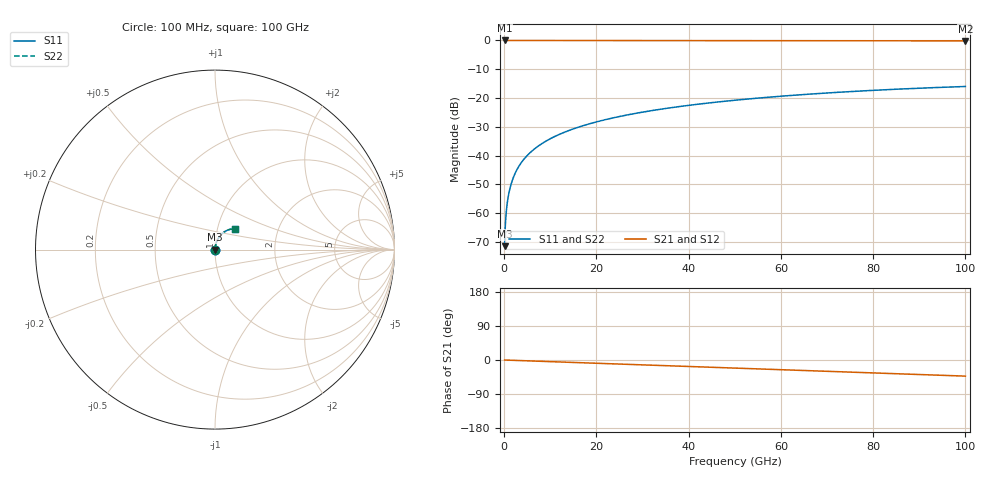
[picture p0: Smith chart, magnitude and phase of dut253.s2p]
! Touchstone file exported from HFSS 2026.1.0
!  File:  C:/ffzhzh/LocalFiles/Ansys_Project_Files/temp_train_TSV_253_1783508381_44152.aedt
!  Generated:  07:00:56 PM Jul  8, 2026
!  Design:  TSV
!  Project:  temp_train_TSV_253_1783508381_44152
! Variables:
!  h_bsmrdl = 2um
!  h_ox = 20um
!  h_rdl = 5um
!  h_sub = 79.96um
!  h_tmrdl = 5um
!  h_tsv = 79.96um
!  h_via = 3um
!  l_bsmrdl = 300um
!  l_sub = 419.48um
!  l_tmrdl = 200um
!  m_sub = 200um
!  pitch = 53.94um
!  r_tsv = 9.74um
!  s_tmrdl = 10um
!  w_bsmrdl = 18um
!  w_sub = 500um
!  w_tmrdl = 12um
!  x_tsv_center1 = 206um
!  x_tsv_center2 = 524um
!  x_tsv_center3 = 736um
!  x_tsv_center4 = 1054um
!  x_tsv_center5 = 1266um
!  x_tsv_center6 = 1584um
# GHz S MA R 50.000000
! Terminal data exported
! Port[1] = TSV1_1_T1
! Port[2] = TSV1_1_T2
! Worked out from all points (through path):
!   1000 points, 100 MHz to 100 GHz, reference 50 ohm
!   highest |S21| = 0.00 dB at 100 MHz (marker M1); lowest = -0.1 dB at 100 GHz (marker M2)
!   group delay of S21, straight-line fit = 1.18 ps
!   lowest |S11| = -71.5 dB at 100 MHz (marker M3), VSWR 1.00, Z = 50 + j0.0234 ohm
!   |S11| at or under -10 dB: start of sweep to end of sweep
!   |S22| runs from -71.5 to -16.0 dB; largest |S21 - S12| = 5e-15
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0.1  0.0002674 61.0  0.9999 -0.0  0.9999 -0.0  0.0002674 61.0
! Gamma 0 0 0 0
! Port Impedance 50 0 50 0
0.3  0.0007081 77.0  0.9998 -0.1  0.9998 -0.1  0.0007081 77.0
0.7  0.00156 81.0  0.9998 -0.3  0.9998 -0.3  0.00156 81.0
0.8  0.001766 81.4  0.9997 -0.4  0.9997 -0.4  0.001766 81.4
1  0.002172 82.1  0.9997 -0.4  0.9997 -0.4  0.002172 82.1
1.3  0.002776 82.8  0.9997 -0.6  0.9997 -0.6  0.002776 82.8
1.7  0.003575 83.4  0.9996 -0.7  0.9996 -0.7  0.003575 83.4
2.3  0.004766 83.9  0.9996 -1.0  0.9996 -1.0  0.004766 83.9
3  0.006142 84.1  0.9995 -1.3  0.9995 -1.3  0.006142 84.1
3.8  0.007704 84.2  0.9994 -1.7  0.9994 -1.7  0.007704 84.2
4.8  0.009644 84.2  0.9993 -2.1  0.9993 -2.1  0.009644 84.2
6  0.01196 84.1  0.9992 -2.6  0.9992 -2.6  0.01196 84.1
8.8  0.01734 83.4  0.999 -3.8  0.999 -3.8  0.01734 83.4
12.4  0.0242 82.3  0.9987 -5.4  0.9987 -5.4  0.0242 82.3
16.8  0.03251 80.7  0.9983 -7.2  0.9983 -7.2  0.03251 80.7
24.2  0.04628 77.9  0.9975 -10.4  0.9975 -10.4  0.04628 77.9
33.4  0.06299 74.2  0.9964 -14.3  0.9964 -14.3  0.06299 74.2
41.2  0.0767 71.0  0.9952 -17.7  0.9952 -17.7  0.0767 71.0
50.1  0.09172 67.3  0.9938 -21.5  0.9938 -21.5  0.09172 67.3
66.7  0.1176 60.5  0.9908 -28.5  0.9908 -28.5  0.1176 60.5
83.4  0.1403 53.5  0.9875 -35.5  0.9875 -35.5  0.1403 53.5
100  0.1587 46.7  0.9844 -42.5  0.9844 -42.5  0.1586 46.7
